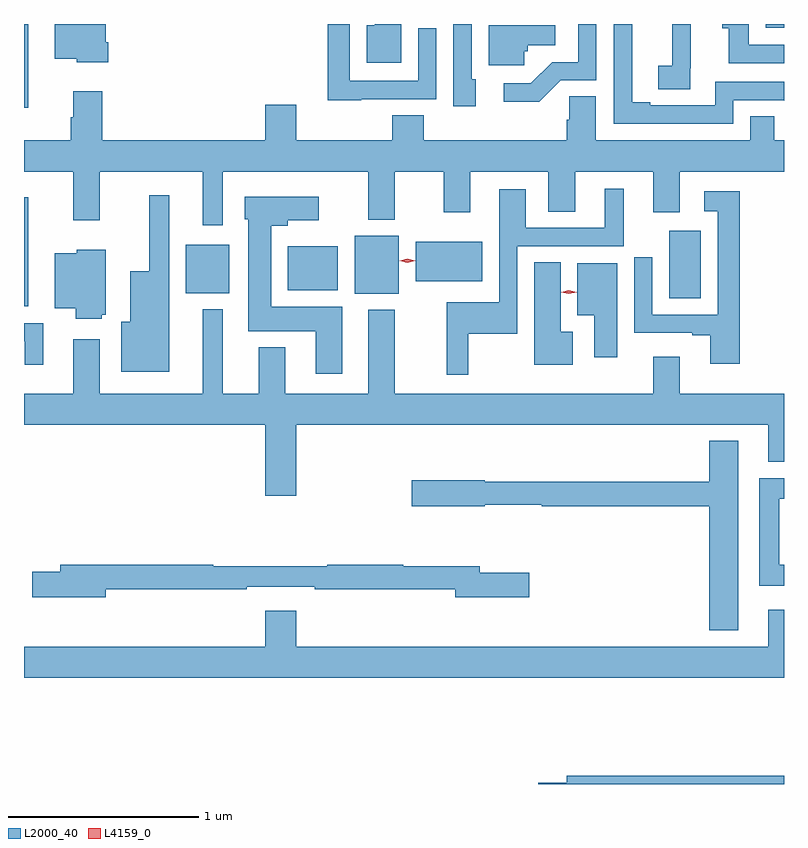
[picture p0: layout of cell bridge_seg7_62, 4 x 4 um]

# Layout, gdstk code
import gdstk
lib = gdstk.Library(unit=1e-6, precision=1e-09)
def R(c, l, rs):  # rectangles x0, y0, x1, y1
    for r in rs: c.add(gdstk.rectangle(r[:2], r[2:], *l))
def P(c, l, *ps):  # polygons
    for p in ps: c.add(gdstk.Polygon(p, *l))
L2000_40 = (2000, 40)
L4159_0 = (4159, 0)

bridge_seg7_62 = lib.new_cell('bridge_seg7_62')
R(bridge_seg7_62, L2000_40, [(895.007,1002.572,895.03,1003.144), (898.403,1002.613,898.57,1002.97), (896.747,1002.638,896.98,1002.943), (895.859,1002.641,896.086,1002.895), (896.396,1002.656,896.659,1002.886), (897.068,1002.704,897.418,1002.91), (895.007,1003.616,895.03,1004.057), (898.911,1004.037,899.007,1004.057)])
P(bridge_seg7_62, L2000_40, [(898.514,1003.825),(898.516,1003.825),(898.516,1004.057),(898.419,1004.057),(898.419,1004.033),(898.418,1004.033),(898.418,1003.836),(898.344,1003.836),(898.344,1003.714),(898.514,1003.714)],
  [(899.007,1003.947),(898.822,1003.947),(898.822,1004.057),(898.682,1004.057),(898.682,1004.035),(898.715,1004.035),(898.715,1003.851),(899.007,1003.851)],
  [(895.451,1003.96),(895.438,1003.96),(895.438,1004.057),(895.169,1004.057),(895.169,1003.874),(895.284,1003.874),(895.284,1003.856),(895.451,1003.856)],
  [(896.992,1004.057),(896.852,1004.057),(896.852,1004.05),(896.81,1004.05),(896.81,1003.853),(896.992,1003.853)],
  [(896.781,1003.662),(897.177,1003.662),(897.177,1004.035),(897.081,1004.035),(897.081,1003.758),(896.721,1003.758),(896.721,1004.057),(896.605,1004.057),(896.605,1003.655),(896.781,1003.655)],
  [(897.385,1003.767),(897.363,1003.767),(897.363,1004.057),(897.267,1004.057),(897.267,1003.623),(897.385,1003.623)],
  [(897.831,1003.761),(898.02,1003.761),(898.02,1004.057),(897.924,1004.057),(897.924,1003.857),(897.786,1003.857),(897.675,1003.746),(897.531,1003.746),(897.531,1003.649),(897.718,1003.649)],
  [(898.74,1003.656),(899.004,1003.656),(899.007,1003.653),(899.007,1003.752),(898.644,1003.752),(898.644,1003.629),(898.303,1003.629),(898.303,1003.644),(898.207,1003.644),(898.207,1004.057),(898.11,1004.057),(898.11,1003.533),(898.74,1003.533)],
  [(897.639,1003.914),(897.658,1003.914),(897.658,1003.946),(897.802,1003.946),(897.802,1004.05),(897.452,1004.05),(897.452,1003.839),(897.639,1003.839)],
  [(896.053,1003.28),(896.819,1003.28),(896.819,1003.028),(896.959,1003.028),(896.959,1003.28),(897.215,1003.28),(897.215,1003.065),(897.355,1003.065),(897.355,1003.28),(897.767,1003.28),(897.767,1003.069),(897.907,1003.069),(897.907,1003.28),(898.319,1003.28),(898.319,1003.065),(898.459,1003.065),(898.459,1003.28),(899.007,1003.28),(899.007,1003.444),(898.956,1003.444),(898.956,1003.571),(898.829,1003.571),(898.829,1003.444),(898.015,1003.444),(898.015,1003.676),(897.876,1003.676),(897.876,1003.553),(897.863,1003.553),(897.863,1003.444),(897.11,1003.444),(897.11,1003.577),(896.945,1003.577),(896.945,1003.444),(896.44,1003.444),(896.44,1003.633),(896.276,1003.633),(896.276,1003.444),(895.418,1003.444),(895.418,1003.702),(895.265,1003.702),(895.265,1003.565),(895.253,1003.565),(895.253,1003.444),(895.007,1003.444),(895.007,1003.28),(895.265,1003.28),(895.265,1003.023),(895.405,1003.023),(895.405,1003.28),(895.949,1003.28),(895.949,1002.999),(896.053,1002.999)],
  [(897.346,1002.427),(897.603,1002.427),(897.603,1002.888),(898.163,1002.888),(898.163,1003.189),(898.064,1003.189),(898.064,1002.984),(897.649,1002.984),(897.649,1003.186),(897.507,1003.186),(897.507,1002.592),(897.232,1002.592),(897.232,1002.21),(897.346,1002.21)],
  [(898.775,1003.177),(898.587,1003.177),(898.587,1003.071),(898.659,1003.071),(898.659,1002.528),(898.314,1002.528),(898.314,1002.829),(898.218,1002.829),(898.218,1002.432),(898.523,1002.432),(898.523,1002.42),(898.619,1002.42),(898.619,1002.27),(898.775,1002.27)],
  [(895.771,1003.156),(895.667,1003.156),(895.667,1002.757),(895.565,1002.757),(895.565,1002.49),(895.52,1002.49),(895.52,1002.227),(895.771,1002.227)],
  [(896.683,1002.568),(896.308,1002.568),(896.308,1002.995),(896.395,1002.995),(896.395,1003.025),(896.557,1003.025),(896.557,1003.147),(896.168,1003.147),(896.168,1003.029),(896.186,1003.029),(896.186,1002.44),(896.543,1002.44),(896.543,1002.216),(896.683,1002.216)],
  [(895.416,1002.528),(895.438,1002.528),(895.438,1002.868),(895.284,1002.868),(895.284,1002.85),(895.169,1002.85),(895.169,1002.56),(895.28,1002.56),(895.28,1002.506),(895.416,1002.506)],
  [(897.895,1002.436),(897.832,1002.436),(897.832,1002.803),(897.692,1002.803),(897.692,1002.263),(897.895,1002.263)],
  [(898.129,1002.799),(897.92,1002.799),(897.92,1002.524),(898.007,1002.524),(898.007,1002.303),(898.129,1002.303)],
  [(896.44,1001.948),(898.925,1001.948),(898.925,1001.754),(899.007,1001.754),(899.007,1002.112),(898.459,1002.112),(898.459,1002.307),(898.319,1002.307),(898.319,1002.112),(896.959,1002.112),(896.959,1002.553),(896.819,1002.553),(896.819,1002.112),(896.383,1002.112),(896.383,1002.355),(896.243,1002.355),(896.243,1002.112),(896.053,1002.112),(896.053,1002.556),(895.949,1002.556),(895.949,1002.112),(895.405,1002.112),(895.405,1002.397),(895.265,1002.397),(895.265,1002.112),(895.007,1002.112),(895.007,1001.948),(896.276,1001.948),(896.276,1001.574),(896.44,1001.574)],
  [(895.108,1002.483),(895.007,1002.483),(895.007,1002.387),(895.01,1002.387),(895.01,1002.264),(895.108,1002.264)],
  [(898.765,1001.863),(898.613,1001.863),(898.613,1001.647),(897.432,1001.647),(897.432,1001.655),(897.048,1001.655),(897.048,1001.518),(897.432,1001.518),(897.432,1001.526),(897.732,1001.526),(897.732,1001.518),(898.613,1001.518),(898.613,1000.865),(898.765,1000.865)],
  [(899.007,1001.21),(898.981,1001.21),(898.981,1001.559),(899.007,1001.559),(899.007,1001.667),(898.877,1001.667),(898.877,1001.1),(899.007,1001.1)],
  [(895.438,1001.082),(896.18,1001.082),(896.18,1001.094),(896.536,1001.094),(896.536,1001.082),(897.278,1001.082),(897.278,1001.039),(897.667,1001.039),(897.667,1001.169),(897.406,1001.169),(897.406,1001.203),(897.002,1001.203),(897.002,1001.21),(896.602,1001.21),(896.602,1001.203),(896.003,1001.203),(896.003,1001.21),(895.199,1001.21),(895.199,1001.174),(895.05,1001.174),(895.05,1001.039),(895.438,1001.039)],
  [(899.007,1000.975),(898.925,1000.975),(898.925,1000.78),(896.44,1000.78),(896.44,1000.969),(896.276,1000.969),(896.276,1000.78),(895.007,1000.78),(895.007,1000.616),(899.007,1000.616)],
  [(899.007,1000.1),(897.863,1000.1),(897.863,1000.064),(897.714,1000.064),(897.714,1000.057),(899.007,1000.057)])
P(bridge_seg7_62, L4159_0, [(897.875,1002.636),(897.835,1002.646),(897.834,1002.646),(897.835,1002.646),(897.875,1002.656),(897.915,1002.646),(897.916,1002.646),(897.915,1002.646)],
  [(897.025,1002.801),(896.985,1002.811),(896.985,1002.811),(896.985,1002.811),(897.025,1002.821),(897.065,1002.811),(897.065,1002.811),(897.065,1002.81)])

lib.write_gds('bridge_seg7_62.gds')
